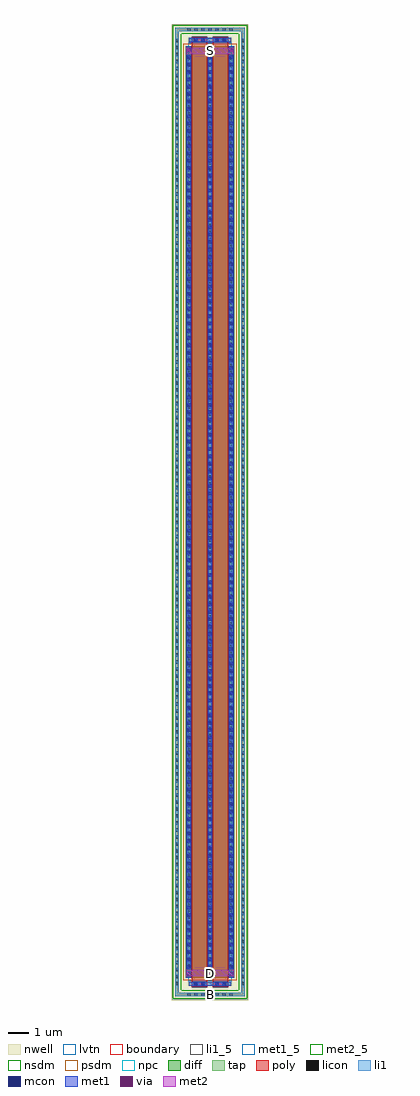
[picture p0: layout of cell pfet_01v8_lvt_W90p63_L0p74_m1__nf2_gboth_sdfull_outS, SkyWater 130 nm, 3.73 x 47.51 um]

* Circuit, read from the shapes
.subckt pfet_01v8_lvt_W90p63_L0p74_m1__nf2_gboth_sdfull_outS B D G S
XM1 D G S B sky130_fd_pr__pfet_01v8_lvt w=45.32 l=0.74 m=2
.ends

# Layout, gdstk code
import gdstk
lib = gdstk.Library(unit=1e-6, precision=1e-09)
def R(c, l, rs):  # rectangles x0, y0, x1, y1
    for r in rs: c.add(gdstk.rectangle(r[:2], r[2:], *l))
def A(c, l, x, y, w, h, nx, ny, dx, dy):  # array of equal rectangles
    R(c, l, [(x+i*dx, y+j*dy, x+i*dx+w, y+j*dy+h) for i in range(nx) for j in range(ny)])
nwell = (64, 20)
diff = (65, 20)
tap = (65, 44)
poly = (66, 20)
licon = (66, 44)
li1_5 = (67, 5)
li1 = (67, 20)
mcon = (67, 44)
met1_5 = (68, 5)
met1 = (68, 20)
via = (68, 44)
met2_5 = (69, 5)
met2 = (69, 20)
nsdm = (93, 44)
psdm = (94, 20)
npc = (95, 20)
lvtn = (125, 44)
boundary = (235, 4)

sky130_fd_pr__pfet_01v8_ = lib.new_cell('sky130_fd_pr__pfet_01v8_lvt_8B9X7D')
R(sky130_fd_pr__pfet_01v8_, nwell, [(-1.865,-23.755,1.865,23.755)])
R(sky130_fd_pr__pfet_01v8_, diff, [(-1.175,-22.66,1.175,22.66)])
R(sky130_fd_pr__pfet_01v8_, tap, [(-1.685,-23.575,1.685,-23.405), (-1.685,-23.405,-1.515,23.405), (1.515,-23.405,1.685,23.405), (-1.685,23.405,1.685,23.575)])
R(sky130_fd_pr__pfet_01v8_, poly, [(-0.885,-23.145,-0.145,23.145), (0.145,-23.145,0.885,23.145)])
A(sky130_fd_pr__pfet_01v8_, licon, -1.105, -23.575, 0.17, 0.17, 7, 2, 0.34, 46.98)
A(sky130_fd_pr__pfet_01v8_, licon, -1.685, -23.035, 0.17, 0.17, 1, 136, 0, 0.34)
A(sky130_fd_pr__pfet_01v8_, licon, 1.515, -23.035, 0.17, 0.17, 1, 136, 0, 0.34)
A(sky130_fd_pr__pfet_01v8_, licon, -1.115, -22.525, 0.17, 0.17, 3, 133, 1.03, 0.34)
R(sky130_fd_pr__pfet_01v8_, licon, [(-0.77,-23.065,-0.6,-22.895), (-0.43,-23.065,-0.26,-22.895), (0.26,-23.065,0.43,-22.895), (0.6,-23.065,0.77,-22.895), (-0.77,22.895,-0.6,23.065), (-0.43,22.895,-0.26,23.065), (0.26,22.895,0.43,23.065), (0.6,22.895,0.77,23.065)])
A(sky130_fd_pr__pfet_01v8_, li1, -1.115, -22.68, 0.17, 45.36, 3, 1, 1.03, 0)
R(sky130_fd_pr__pfet_01v8_, li1, [(-1.685,-23.575,1.685,-23.405), (-1.685,-23.405,-1.515,23.405), (1.515,-23.405,1.685,23.405), (-1.03,-23.065,1.03,-22.895), (-1.03,22.895,1.03,23.065), (-1.685,23.405,1.685,23.575)])
A(sky130_fd_pr__pfet_01v8_, mcon, -1.115, -22.585, 0.17, 0.17, 3, 126, 1.03, 0.36)
R(sky130_fd_pr__pfet_01v8_, mcon, [(-0.78,-23.065,-0.61,-22.895), (-0.42,-23.065,-0.25,-22.895), (0.25,-23.065,0.42,-22.895), (0.61,-23.065,0.78,-22.895), (-0.78,22.895,-0.61,23.065), (-0.42,22.895,-0.25,23.065), (0.25,22.895,0.42,23.065), (0.61,22.895,0.78,23.065)])
A(sky130_fd_pr__pfet_01v8_, met1, -1.145, -22.66, 0.23, 45.32, 3, 1, 1.03, 0)
R(sky130_fd_pr__pfet_01v8_, met1, [(-0.865,-23.095,-0.165,-23.065), (0.165,-23.095,0.865,-23.065), (-1.03,-23.065,1.03,-22.895), (-0.865,-22.895,-0.165,-22.865), (0.165,-22.895,0.865,-22.865), (-0.865,22.865,-0.165,22.895), (0.165,22.865,0.865,22.895), (-1.03,22.895,1.03,23.065), (-0.865,23.065,-0.165,23.095), (0.165,23.065,0.865,23.095)])
R(sky130_fd_pr__pfet_01v8_, nsdm, [(-1.81,-23.7,1.81,-23.28), (-1.81,-23.28,-1.39,23.28), (1.39,-23.28,1.81,23.28), (-1.81,23.28,1.81,23.7)])
R(sky130_fd_pr__pfet_01v8_, psdm, [(-1.3,-22.785,1.3,22.785)])
R(sky130_fd_pr__pfet_01v8_, npc, [(-0.87,-23.165,-0.16,-22.795), (0.16,-23.165,0.87,-22.795), (-0.87,22.795,-0.16,23.165), (0.16,22.795,0.87,23.165)])
R(sky130_fd_pr__pfet_01v8_, lvtn, [(-1.065,-22.84,1.065,22.84)])
R(sky130_fd_pr__pfet_01v8_, boundary, [(-1.6,-23.49,1.6,23.49)])
sky130_fd_pr__pfet_01v8_.add(gdstk.Label('B', (0,-23.49), layer=67, texttype=5))
sky130_fd_pr__pfet_01v8_.add(gdstk.Label('D0', (-1.03,0), layer=67, texttype=5))
sky130_fd_pr__pfet_01v8_.add(gdstk.Label('G', (0.515,22.98), layer=67, texttype=5))
sky130_fd_pr__pfet_01v8_.add(gdstk.Label('G', (-0.515,22.98), layer=67, texttype=5))
sky130_fd_pr__pfet_01v8_.add(gdstk.Label('S1', (0,0), layer=67, texttype=5))

pfet_01v8_lvt_w90p63_l0p = lib.new_cell('pfet_01v8_lvt_W90p63_L0p74_m1__nf2_gboth_sdfull_outS')
R(pfet_01v8_lvt_w90p63_l0p, li1_5, [(1.515,-0.085,1.685,0.085)])
R(pfet_01v8_lvt_w90p63_l0p, li1, [(1.515,-0.085,1.685,0.085)])
R(pfet_01v8_lvt_w90p63_l0p, met1_5, [(0.57,46.355,2.63,46.585)])
R(pfet_01v8_lvt_w90p63_l0p, met1, [(1.47,0.88,1.73,1.2), (0.44,45.78,0.7,46.1), (2.5,45.78,2.76,46.1), (0.57,46.355,2.63,46.585)])
R(pfet_01v8_lvt_w90p63_l0p, via, [(1.525,0.965,1.675,1.115), (0.495,45.865,0.645,46.015), (2.555,45.865,2.705,46.015)])
R(pfet_01v8_lvt_w90p63_l0p, met2_5, [(0.435,0.88,2.765,1.2), (0.435,45.78,2.765,46.1)])
R(pfet_01v8_lvt_w90p63_l0p, met2, [(0.435,0.88,2.765,1.2), (0.435,45.78,2.765,46.1)])
pfet_01v8_lvt_w90p63_l0p.add(gdstk.Reference(sky130_fd_pr__pfet_01v8_, (1.6,23.49)))
pfet_01v8_lvt_w90p63_l0p.add(gdstk.Label('S', (1.6,45.94), layer=69, texttype=5))
pfet_01v8_lvt_w90p63_l0p.add(gdstk.Label('D', (1.6,1.04), layer=69, texttype=5))
pfet_01v8_lvt_w90p63_l0p.add(gdstk.Label('G', (1.6,46.47), layer=68, texttype=5))
pfet_01v8_lvt_w90p63_l0p.add(gdstk.Label('B', (1.6,0), layer=67, texttype=5))

lib.write_gds('pfet_01v8_lvt_W90p63_L0p74_m1__nf2_gboth_sdfull_outS.gds')
